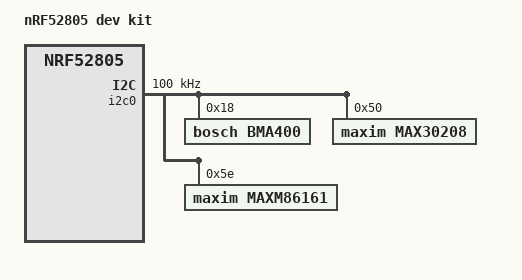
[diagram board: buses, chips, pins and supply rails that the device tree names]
/dts-v1/;
#include <nordic/nrf52805_qfaa.dtsi>
#include "nRF52805-dev-pinctrl.dtsi"

/ {
	model = "nRF52805 dev kit";
	compatible = "nordic,nRF52805-dev";

	chosen {
		zephyr,sram = &sram0;
		zephyr,flash = &flash0;
		zephyr,code-partition = &slot0_partition;
	};

	aliases {
		i2c0 = &i2c0;
	};
};

&flash0 {
	partitions {
		compatible = "fixed-partitions";
		#address-cells = <1>;
		#size-cells = <1>;

		boot_partition: partition@0 {
			label = "mcuboot";
			reg = <0x00000000 DT_SIZE_K(32)>;
		};

		slot0_partition: partition@8000 {
			label = "image-0";
			reg = <0x00008000 DT_SIZE_K(128)>;
		};

		slot1_partition: partition@28000 {
			label = "image-1";
			reg = <0x00028000 DT_SIZE_K(128)>;
		};

		storage_partition: partition@48000 {
			label = "storage";
			reg = <0x00048000 DT_SIZE_K(32)>;
		};
	};
};

&i2c0 {
	compatible = "nordic,nrf-twim";
	status = "okay";
	clock-frequency = <I2C_BITRATE_STANDARD>;
	pinctrl-0 = <&i2c0_default>;
	pinctrl-names = "default";

	/* I2C devices */
	bma400: bma400@18 {
		compatible = "bosch,bma400";
		reg = <0x18>;
		label = "BMA400";
		status = "okay";
	};

	max30208: max30208@50 {
		compatible = "maxim,max30208";
		reg = <0x50>;
		label = "MAX30208";
		status = "okay";
	};

	maxm86161: maxm86161@5e {
		compatible = "maxim,maxm86161";
		reg = <0x5e>;
		label = "MAXM86161";
		status = "okay";
	};
};

